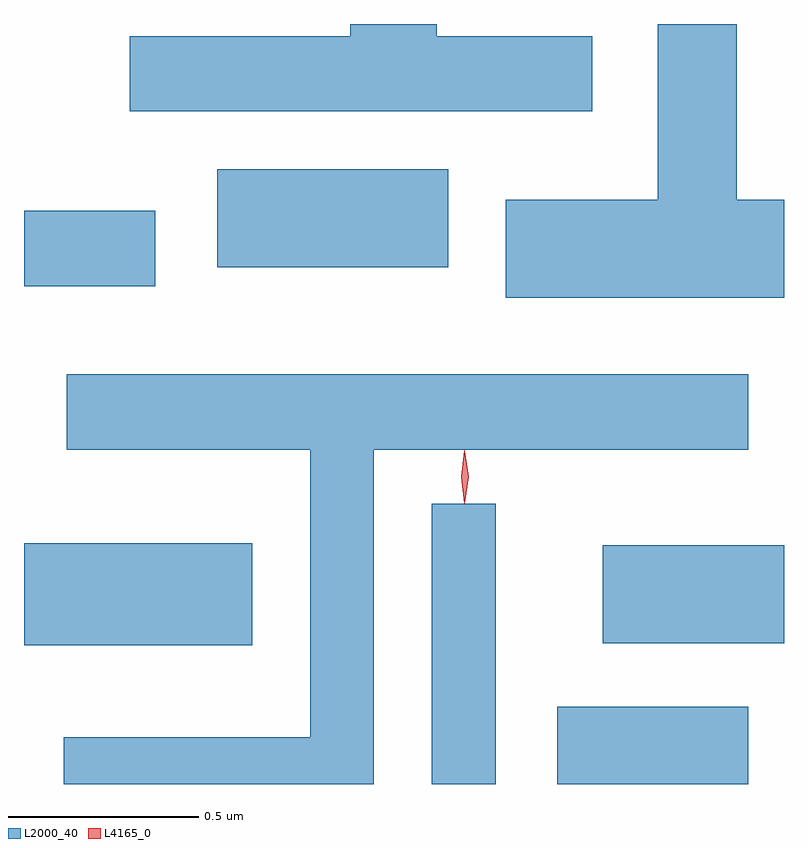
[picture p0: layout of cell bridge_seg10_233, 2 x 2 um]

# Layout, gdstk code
import gdstk
lib = gdstk.Library(unit=1e-6, precision=1e-09)
def R(c, l, rs):  # rectangles x0, y0, x1, y1
    for r in rs: c.add(gdstk.rectangle(r[:2], r[2:], *l))
def P(c, l, *ps):  # polygons
    for p in ps: c.add(gdstk.Polygon(p, *l))
L2000_40 = (2000, 40)
L4165_0 = (4165, 0)

bridge_seg10_233 = lib.new_cell('bridge_seg10_233')
R(bridge_seg10_233, L2000_40, [(1704.241,2141.436,1704.409,2142.173), (1704.571,2141.436,1705.074,2141.639), (1703.168,2141.801,1703.769,2142.069), (1704.691,2141.806,1705.168,2142.064), (1703.168,2142.746,1703.514,2142.944), (1703.676,2142.796,1704.284,2143.054)])
P(bridge_seg10_233, L2000_40, [(1705.168,2142.974),(1705.044,2142.974),(1705.044,2143.436),(1704.836,2143.436),(1704.836,2142.974),(1704.436,2142.974),(1704.436,2142.716),(1705.168,2142.716)],
  [(1704.664,2143.404),(1704.254,2143.404),(1704.254,2143.436),(1704.026,2143.436),(1704.026,2143.404),(1703.446,2143.404),(1703.446,2143.206),(1704.664,2143.206)],
  [(1704.089,2142.316),(1705.074,2142.316),(1705.074,2142.514),(1703.281,2142.514),(1703.281,2142.316),(1703.921,2142.316),(1703.921,2141.559),(1703.273,2141.559),(1703.273,2141.436),(1704.089,2141.436)])
P(bridge_seg10_233, L4165_0, [(1704.328,2142.174),(1704.327,2142.175),(1704.318,2142.244),(1704.327,2142.313),(1704.328,2142.314),(1704.328,2142.313),(1704.338,2142.244),(1704.328,2142.175)],
  [(1704.327,2142.178),(1704.318,2142.244),(1704.327,2142.311),(1704.328,2142.311),(1704.328,2142.311),(1704.338,2142.244),(1704.328,2142.178),(1704.328,2142.178)])

lib.write_gds('bridge_seg10_233.gds')
